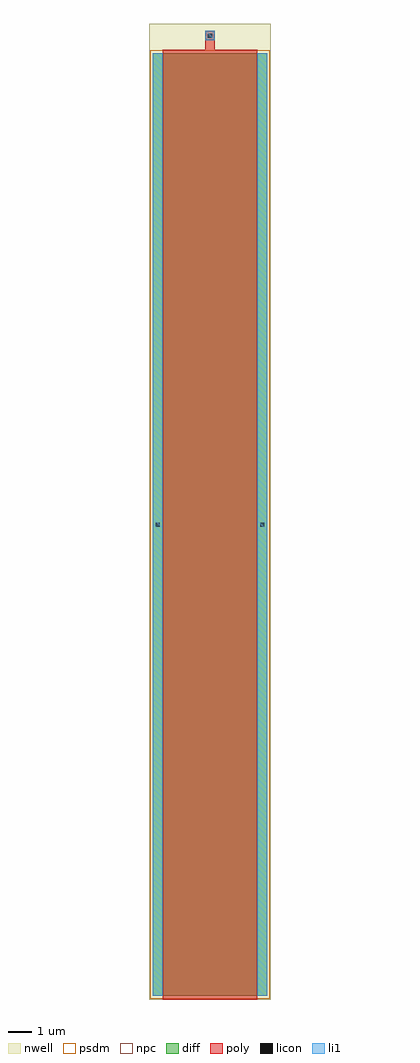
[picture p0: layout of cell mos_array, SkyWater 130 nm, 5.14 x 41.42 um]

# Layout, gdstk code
import gdstk
lib = gdstk.Library(unit=1e-6, precision=1e-09)
def R(c, l, rs):  # rectangles x0, y0, x1, y1
    for r in rs: c.add(gdstk.rectangle(r[:2], r[2:], *l))
nwell = (64, 20)
diff = (65, 20)
poly = (66, 20)
licon = (66, 44)
li1 = (67, 20)
psdm = (94, 20)
npc = (95, 20)

mos_array = lib.new_cell('mos_array')
R(mos_array, nwell, [(-0.15,-0.15,4.99,41.27)])
R(mos_array, diff, [(0,0,4.84,40)])
R(mos_array, poly, [(0.42,-0.15,4.42,40), (0.42,40,4.42,40.15), (0.42,40,4.42,40.15), (2.21,40.15,2.63,40.97)])
R(mos_array, licon, [(0.125,19.915,0.295,20.085), (4.545,19.915,4.715,20.085), (2.335,40.675,2.505,40.845)])
R(mos_array, li1, [(0,0,0.42,40), (4.42,0,4.84,40), (2.21,40.55,2.63,40.97)])
R(mos_array, psdm, [(-0.125,-0.125,4.965,40.125)])
R(mos_array, npc, [(2.24,40.58,2.6,40.94)])

lib.write_gds('mos_array.gds')
